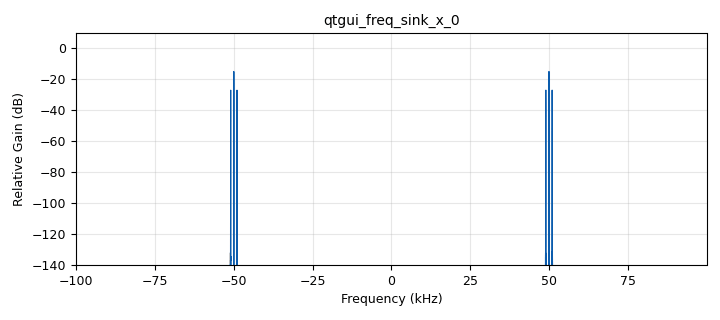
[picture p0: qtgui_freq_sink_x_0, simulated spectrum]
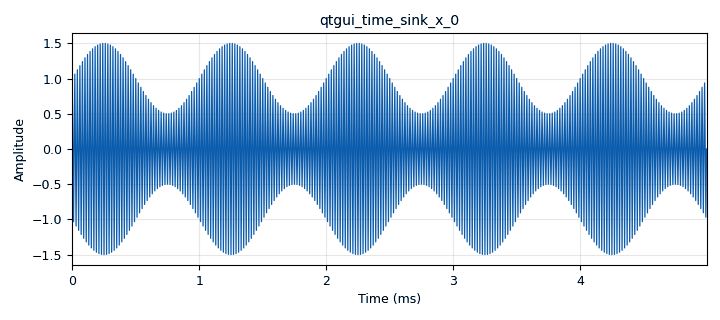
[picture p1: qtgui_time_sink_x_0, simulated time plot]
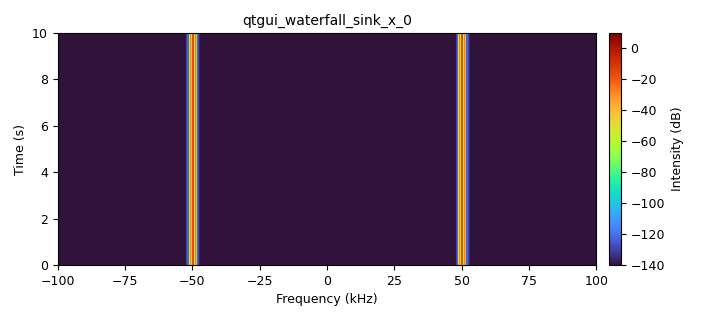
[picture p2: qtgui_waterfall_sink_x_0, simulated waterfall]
options:
  parameters:
    author: admin
    generate_options: qt_gui
    id: am
    output_language: python
    title: Not titled yet
  states: {}

blocks:
- name: mod_index
  id: variable_qtgui_range
  parameters:
    label: Глубина модуляции
    start: '0.0'
    step: '0.01'
    stop: '1.5'
    value: '0.5'
    widget: slider
  states: {}
- name: samp_rate
  id: variable
  parameters:
    value: 200e3
  states: {}
- name: analog_sig_source_x_0
  id: analog_sig_source_x
  parameters:
    amp: '1'
    freq: '1000'
    offset: '0'
    phase: '0'
    samp_rate: samp_rate
    type: float
    waveform: analog.GR_SIN_WAVE
  states: {}
- name: analog_sig_source_x_1
  id: analog_sig_source_x
  parameters:
    amp: '1'
    freq: '50000'
    offset: '0'
    phase: '0'
    samp_rate: samp_rate
    type: float
    waveform: analog.GR_COS_WAVE
  states: {}
- name: blocks_add_const_vxx_0
  id: blocks_add_const_vxx
  parameters:
    const: '1.0'
    type: float
  states: {}
- name: blocks_multiply_const_vxx_0
  id: blocks_multiply_const_vxx
  parameters:
    const: mod_index
    type: float
  states: {}
- name: blocks_multiply_xx_0
  id: blocks_multiply_xx
  parameters:
    type: float
  states: {}
- name: blocks_throttle2_0
  id: blocks_throttle2
  parameters:
    samples_per_second: samp_rate
    type: float
  states: {}
- name: qtgui_freq_sink_x_0
  id: qtgui_freq_sink_x
  parameters:
    bw: samp_rate
    fc: '0'
    fftsize: '16384'
    legend: 'False'
    type: float
  states: {}
- name: qtgui_time_sink_x_0
  id: qtgui_time_sink_x
  parameters:
    autoscale: 'True'
    legend: 'False'
    size: '1000'
    srate: samp_rate
    type: float
    ymax: '2'
    ymin: '-2'
  states: {}
- name: qtgui_waterfall_sink_x_0
  id: qtgui_waterfall_sink_x
  parameters:
    bw: samp_rate
    fc: '0'
    fftsize: '2048'
    legend: 'False'
    type: float
  states: {}

connections:
- [analog_sig_source_x_0, '0', blocks_multiply_const_vxx_0, '0']
- [analog_sig_source_x_1, '0', blocks_multiply_xx_0, '1']
- [blocks_add_const_vxx_0, '0', blocks_multiply_xx_0, '0']
- [blocks_multiply_const_vxx_0, '0', blocks_add_const_vxx_0, '0']
- [blocks_multiply_xx_0, '0', blocks_throttle2_0, '0']
- [blocks_throttle2_0, '0', qtgui_freq_sink_x_0, '0']
- [blocks_throttle2_0, '0', qtgui_time_sink_x_0, '0']
- [blocks_throttle2_0, '0', qtgui_waterfall_sink_x_0, '0']

metadata:
  file_format: 1
  grc_version: 3.10.12.0
